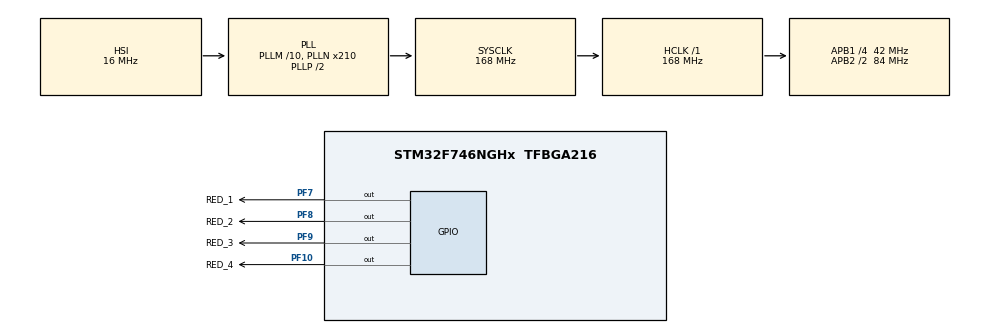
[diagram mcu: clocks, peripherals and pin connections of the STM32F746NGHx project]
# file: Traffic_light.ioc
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Mcu.Family=STM32F7
Mcu.Name=STM32F746NGHx
Mcu.Package=TFBGA216
NVIC.PriorityGroup=NVIC_PRIORITYGROUP_4
NVIC.TIM8_TRG_COM_TIM14_IRQn=true\:0\:0\:false\:false\:true\:false\:true
NVIC.TimeBase=TIM8_TRG_COM_TIM14_IRQn
NVIC.TimeBaseIP=TIM14
PA13.Mode=Serial_Wire
PA13.Signal=SYS_JTMS-SWDIO
PA14.Mode=Serial_Wire
PA14.Signal=SYS_JTCK-SWCLK
PC14/OSC32_IN.Mode=LSE-External-Clock-Source
PC14/OSC32_IN.Signal=RCC_OSC32_IN
PC15/OSC32_OUT.Mode=LSE-External-Clock-Source
PC15/OSC32_OUT.Signal=RCC_OSC32_OUT
PF10.GPIO_Label=RED_4
PF10.Signal=GPIO_Output
PF7.GPIO_Label=RED_1
PF7.Signal=GPIO_Output
PF8.GPIO_Label=RED_2
PF8.Signal=GPIO_Output
PF9.GPIO_Label=RED_3
PF9.Signal=GPIO_Output
PH0/OSC_IN.Mode=HSE-External-Oscillator
PH0/OSC_IN.Signal=RCC_OSC_IN
PH1/OSC_OUT.Mode=HSE-External-Oscillator
PH1/OSC_OUT.Signal=RCC_OSC_OUT
ProjectManager.HeapSize=0x200
ProjectManager.StackSize=0x400
ProjectManager.TargetToolchain=STM32CubeIDE
RCC.AHBFreq_Value=168000000
RCC.APB1CLKDivider=RCC_HCLK_DIV4
RCC.APB1Freq_Value=42000000
RCC.APB1TimFreq_Value=84000000
RCC.APB2CLKDivider=RCC_HCLK_DIV2
RCC.APB2Freq_Value=84000000
RCC.APB2TimFreq_Value=168000000
RCC.CortexFreq_Value=168000000
RCC.HCLKFreq_Value=168000000
RCC.HSE_VALUE=25000000
RCC.HSI_VALUE=16000000
RCC.LSE_VALUE=32768
RCC.PLLM=10
RCC.PLLN=210
RCC.PLLSourceVirtual=RCC_PLLSOURCE_HSI
RCC.SYSCLKFreq_VALUE=168000000
RCC.SYSCLKSource=RCC_SYSCLKSOURCE_PLLCLK
RCC.USBFreq_Value=168000000
RCC.VCOOutputFreq_Value=336000000
TIM2.Channel-Output\ Compare1\ No\ Output=TIM_CHANNEL_1
TIM2.Period=20000
TIM2.Prescaler=42000
TIM3.Period=20000
TIM3.Prescaler=42000
TIM4.Period=24000-1
TIM4.Prescaler=42000-1
VP_SYS_VS_tim14.Mode=TIM14
VP_TIM2_VS_ClockSourceINT.Mode=Internal
VP_TIM2_VS_no_output1.Mode=Output Compare1 No Output
VP_TIM3_VS_ClockSourceINT.Mode=Internal
VP_TIM4_VS_ClockSourceINT.Mode=Internal
board=STM32F746G-DISCO

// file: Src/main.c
/* USER CODE BEGIN Header */
/**
  ******************************************************************************
  * @file           : main.c
  * @brief          : Main program body
  ******************************************************************************
  * @attention
  *
  * <h2><center>&copy; Copyright (c) 2019 STMicroelectronics.
  * All rights reserved.</center></h2>
  *
  * This software component is licensed by ST under BSD 3-Clause license,
  * the "License"; You may not use this file except in compliance with the
  * License. You may obtain a copy of the License at:
  *                        opensource.org/licenses/BSD-3-Clause
  *
  ******************************************************************************
  */
/* USER CODE END Header */

#include "main.h"

TIM_HandleTypeDef htim2;
TIM_HandleTypeDef htim3;
TIM_HandleTypeDef htim4;

void SystemClock_Config(void);
static void MX_GPIO_Init(void);
static void MX_TIM2_Init(void);
static void MX_TIM3_Init(void);
static void MX_TIM4_Init(void);

int main(void)
{

  /* MCU Configuration--------------------------------------------------------*/

  /* Reset of all peripherals, Initializes the Flash interface and the Systick. */
  HAL_Init();

  /* Configure the system clock */
  SystemClock_Config();

  /* Initialize all configured peripherals */
  MX_GPIO_Init();
  MX_TIM2_Init();
  MX_TIM3_Init();
  MX_TIM4_Init();
  /* USER CODE BEGIN 2 */

  HAL_TIM_Base_Start(&htim2);

  /* USER CODE END 2 */

  /* Infinite loop */
  /* USER CODE BEGIN WHILE */
  while (1)
  {

	  if(__HAL_TIM_GET_COUNTER(&htim2) < 6000){

		  HAL_GPIO_WritePin(RED_1_GPIO_Port, RED_4_Pin, 1);

	  }else{

		  HAL_GPIO_WritePin(RED_1_GPIO_Port, RED_4_Pin, 0);

	  }
	  if(__HAL_TIM_GET_COUNTER(&htim2) > 6000 && __HAL_TIM_GET_COUNTER(&htim2) < 12000){

	  		  HAL_GPIO_WritePin(RED_1_GPIO_Port, RED_3_Pin, 1);

	  	  }else{

	  		  HAL_GPIO_WritePin(RED_1_GPIO_Port, RED_3_Pin, 0);

	  	  }
	  if(__HAL_TIM_GET_COUNTER(&htim2) > 18000 && __HAL_TIM_GET_COUNTER(&htim2) < 24000){

	  	  		  HAL_GPIO_WritePin(RED_1_GPIO_Port, RED_3_Pin, 1);

	  	  	  }else{

	  	  		  HAL_GPIO_WritePin(RED_1_GPIO_Port, RED_3_Pin, 0);

	  	  	  }
	  if(__HAL_TIM_GET_COUNTER(&htim2) > 12000 && __HAL_TIM_GET_COUNTER(&htim2) < 24000){

	  	  	  		  HAL_GPIO_WritePin(RED_1_GPIO_Port, RED_2_Pin, 1);

	  	  	  	  }else{

	  	  	  		  HAL_GPIO_WritePin(RED_1_GPIO_Port, RED_2_Pin, 0);

	  	  	  	  }
    /* USER CODE END WHILE */

  }
}

void SystemClock_Config(void)
{
  RCC_OscInitTypeDef RCC_OscInitStruct = {0};
  RCC_ClkInitTypeDef RCC_ClkInitStruct = {0};

  /** Configure the main internal regulator output voltage
  */
  __HAL_RCC_PWR_CLK_ENABLE();
  __HAL_PWR_VOLTAGESCALING_CONFIG(PWR_REGULATOR_VOLTAGE_SCALE2);
  /** Initializes the CPU, AHB and APB busses clocks
  */
  RCC_OscInitStruct.OscillatorType = RCC_OSCILLATORTYPE_HSI;
  RCC_OscInitStruct.HSIState = RCC_HSI_ON;
  RCC_OscInitStruct.HSICalibrationValue = RCC_HSICALIBRATION_DEFAULT;
  RCC_OscInitStruct.PLL.PLLState = RCC_PLL_ON;
  RCC_OscInitStruct.PLL.PLLSource = RCC_PLLSOURCE_HSI;
  RCC_OscInitStruct.PLL.PLLM = 10;
  RCC_OscInitStruct.PLL.PLLN = 210;
  RCC_OscInitStruct.PLL.PLLP = RCC_PLLP_DIV2;
  RCC_OscInitStruct.PLL.PLLQ = 2;
  if (HAL_RCC_OscConfig(&RCC_OscInitStruct) != HAL_OK)
  {
    Error_Handler();
  }
  /** Initializes the CPU, AHB and APB busses clocks
  */
  RCC_ClkInitStruct.ClockType = RCC_CLOCKTYPE_HCLK|RCC_CLOCKTYPE_SYSCLK
                              |RCC_CLOCKTYPE_PCLK1|RCC_CLOCKTYPE_PCLK2;
  RCC_ClkInitStruct.SYSCLKSource = RCC_SYSCLKSOURCE_PLLCLK;
  RCC_ClkInitStruct.AHBCLKDivider = RCC_SYSCLK_DIV1;
  RCC_ClkInitStruct.APB1CLKDivider = RCC_HCLK_DIV4;
  RCC_ClkInitStruct.APB2CLKDivider = RCC_HCLK_DIV2;

  if (HAL_RCC_ClockConfig(&RCC_ClkInitStruct, FLASH_LATENCY_5) != HAL_OK)
  {
    Error_Handler();
  }
}

static void MX_TIM2_Init(void)
{

  TIM_ClockConfigTypeDef sClockSourceConfig = {0};
  TIM_MasterConfigTypeDef sMasterConfig = {0};
  TIM_OC_InitTypeDef sConfigOC = {0};

  htim2.Instance = TIM2;
  htim2.Init.Prescaler = 42000;
  htim2.Init.CounterMode = TIM_COUNTERMODE_UP;
  htim2.Init.Period = 20000;
  htim2.Init.ClockDivision = TIM_CLOCKDIVISION_DIV1;
  htim2.Init.AutoReloadPreload = TIM_AUTORELOAD_PRELOAD_DISABLE;
  if (HAL_TIM_Base_Init(&htim2) != HAL_OK)
  {
    Error_Handler();
  }
  sClockSourceConfig.ClockSource = TIM_CLOCKSOURCE_INTERNAL;
  if (HAL_TIM_ConfigClockSource(&htim2, &sClockSourceConfig) != HAL_OK)
  {
    Error_Handler();
  }
  if (HAL_TIM_OC_Init(&htim2) != HAL_OK)
  {
    Error_Handler();
  }
  sMasterConfig.MasterOutputTrigger = TIM_TRGO_RESET;
  sMasterConfig.MasterSlaveMode = TIM_MASTERSLAVEMODE_DISABLE;
  if (HAL_TIMEx_MasterConfigSynchronization(&htim2, &sMasterConfig) != HAL_OK)
  {
    Error_Handler();
  }
  sConfigOC.OCMode = TIM_OCMODE_TIMING;
  sConfigOC.Pulse = 0;
  sConfigOC.OCPolarity = TIM_OCPOLARITY_HIGH;
  sConfigOC.OCFastMode = TIM_OCFAST_DISABLE;
  if (HAL_TIM_OC_ConfigChannel(&htim2, &sConfigOC, TIM_CHANNEL_1) != HAL_OK)
  {
    Error_Handler();
  }

}

static void MX_TIM3_Init(void)
{

  TIM_ClockConfigTypeDef sClockSourceConfig = {0};
  TIM_MasterConfigTypeDef sMasterConfig = {0};

  htim3.Instance = TIM3;
  htim3.Init.Prescaler = 42000;
  htim3.Init.CounterMode = TIM_COUNTERMODE_UP;
  htim3.Init.Period = 20000;
  htim3.Init.ClockDivision = TIM_CLOCKDIVISION_DIV1;
  htim3.Init.AutoReloadPreload = TIM_AUTORELOAD_PRELOAD_DISABLE;
  if (HAL_TIM_Base_Init(&htim3) != HAL_OK)
  {
    Error_Handler();
  }
  sClockSourceConfig.ClockSource = TIM_CLOCKSOURCE_INTERNAL;
  if (HAL_TIM_ConfigClockSource(&htim3, &sClockSourceConfig) != HAL_OK)
  {
    Error_Handler();
  }
  sMasterConfig.MasterOutputTrigger = TIM_TRGO_RESET;
  sMasterConfig.MasterSlaveMode = TIM_MASTERSLAVEMODE_DISABLE;
  if (HAL_TIMEx_MasterConfigSynchronization(&htim3, &sMasterConfig) != HAL_OK)
  {
    Error_Handler();
  }

}

static void MX_TIM4_Init(void)
{

  TIM_ClockConfigTypeDef sClockSourceConfig = {0};
  TIM_MasterConfigTypeDef sMasterConfig = {0};

  htim4.Instance = TIM4;
  htim4.Init.Prescaler = 42000-1;
  htim4.Init.CounterMode = TIM_COUNTERMODE_UP;
  htim4.Init.Period = 24000-1;
  htim4.Init.ClockDivision = TIM_CLOCKDIVISION_DIV1;
  htim4.Init.AutoReloadPreload = TIM_AUTORELOAD_PRELOAD_DISABLE;
  if (HAL_TIM_Base_Init(&htim4) != HAL_OK)
  {
    Error_Handler();
  }
  sClockSourceConfig.ClockSource = TIM_CLOCKSOURCE_INTERNAL;
  if (HAL_TIM_ConfigClockSource(&htim4, &sClockSourceConfig) != HAL_OK)
  {
    Error_Handler();
  }
  sMasterConfig.MasterOutputTrigger = TIM_TRGO_RESET;
  sMasterConfig.MasterSlaveMode = TIM_MASTERSLAVEMODE_DISABLE;
  if (HAL_TIMEx_MasterConfigSynchronization(&htim4, &sMasterConfig) != HAL_OK)
  {
    Error_Handler();
  }

}

static void MX_GPIO_Init(void)
{
  GPIO_InitTypeDef GPIO_InitStruct = {0};

  /* GPIO Ports Clock Enable */
  __HAL_RCC_GPIOA_CLK_ENABLE();
  __HAL_RCC_GPIOC_CLK_ENABLE();
  __HAL_RCC_GPIOH_CLK_ENABLE();
  __HAL_RCC_GPIOF_CLK_ENABLE();

  /*Configure GPIO pin Output Level */
  HAL_GPIO_WritePin(GPIOF, RED_1_Pin|RED_4_Pin|RED_3_Pin|RED_2_Pin, GPIO_PIN_RESET);

  /*Configure GPIO pins : RED_1_Pin RED_4_Pin RED_3_Pin RED_2_Pin */
  GPIO_InitStruct.Pin = RED_1_Pin|RED_4_Pin|RED_3_Pin|RED_2_Pin;
  GPIO_InitStruct.Mode = GPIO_MODE_OUTPUT_PP;
  GPIO_InitStruct.Pull = GPIO_NOPULL;
  GPIO_InitStruct.Speed = GPIO_SPEED_FREQ_LOW;
  HAL_GPIO_Init(GPIOF, &GPIO_InitStruct);

}

void HAL_TIM_PeriodElapsedCallback(TIM_HandleTypeDef *htim)
{
  if (htim->Instance == TIM14) {
    HAL_IncTick();
  }
}

void Error_Handler(void)
{
}

/************************ (C) COPYRIGHT STMicroelectronics *****END OF FILE****/
